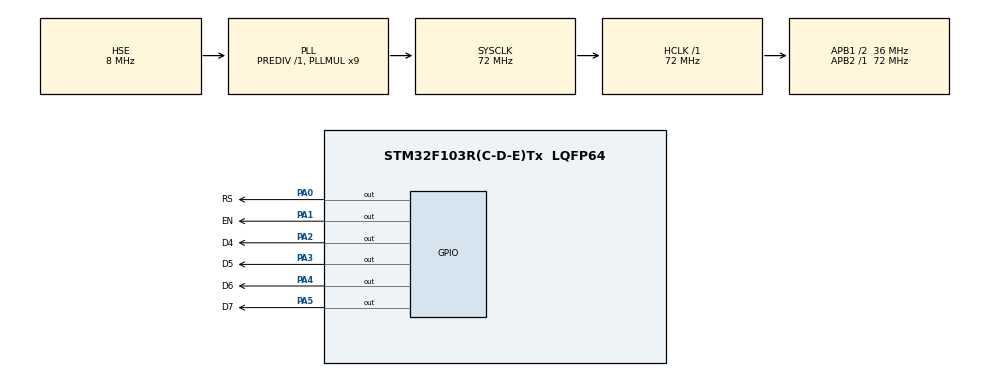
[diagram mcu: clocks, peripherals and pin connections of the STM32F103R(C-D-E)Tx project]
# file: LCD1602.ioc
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Mcu.Family=STM32F1
Mcu.Name=STM32F103R(C-D-E)Tx
Mcu.Package=LQFP64
NVIC.PriorityGroup=NVIC_PRIORITYGROUP_4
PA0-WKUP.GPIO_Label=RS
PA0-WKUP.GPIO_ModeDefaultOutputPP=GPIO_MODE_OUTPUT_PP
PA0-WKUP.GPIO_Speed=GPIO_SPEED_FREQ_MEDIUM
PA0-WKUP.PinState=GPIO_PIN_SET
PA0-WKUP.Signal=GPIO_Output
PA1.GPIO_Label=EN
PA1.GPIO_ModeDefaultOutputPP=GPIO_MODE_OUTPUT_PP
PA1.GPIO_Speed=GPIO_SPEED_FREQ_MEDIUM
PA1.PinState=GPIO_PIN_SET
PA1.Signal=GPIO_Output
PA13.Mode=Serial_Wire
PA13.Signal=SYS_JTMS-SWDIO
PA14.Mode=Serial_Wire
PA14.Signal=SYS_JTCK-SWCLK
PA2.GPIO_Label=D4
PA2.GPIO_ModeDefaultOutputPP=GPIO_MODE_OUTPUT_PP
PA2.GPIO_Speed=GPIO_SPEED_FREQ_MEDIUM
PA2.PinState=GPIO_PIN_SET
PA2.Signal=GPIO_Output
PA3.GPIO_Label=D5
PA3.GPIO_ModeDefaultOutputPP=GPIO_MODE_OUTPUT_PP
PA3.GPIO_Speed=GPIO_SPEED_FREQ_MEDIUM
PA3.PinState=GPIO_PIN_SET
PA3.Signal=GPIO_Output
PA4.GPIO_Label=D6
PA4.GPIO_ModeDefaultOutputPP=GPIO_MODE_OUTPUT_PP
PA4.GPIO_Speed=GPIO_SPEED_FREQ_MEDIUM
PA4.PinState=GPIO_PIN_SET
PA4.Signal=GPIO_Output
PA5.GPIO_Label=D7
PA5.GPIO_ModeDefaultOutputPP=GPIO_MODE_OUTPUT_PP
PA5.GPIO_Speed=GPIO_SPEED_FREQ_MEDIUM
PA5.PinState=GPIO_PIN_SET
PA5.Signal=GPIO_Output
PD0-OSC_IN.Mode=HSE-External-Oscillator
PD0-OSC_IN.Signal=RCC_OSC_IN
PD1-OSC_OUT.Mode=HSE-External-Oscillator
PD1-OSC_OUT.Signal=RCC_OSC_OUT
ProjectManager.HeapSize=0x200
ProjectManager.StackSize=0x400
ProjectManager.TargetToolchain=MDK-ARM V5
RCC.AHBFreq_Value=72000000
RCC.APB1CLKDivider=RCC_HCLK_DIV2
RCC.APB1Freq_Value=36000000
RCC.APB1TimCLKDivider=1
RCC.APB1TimFreq_Value=36000000
RCC.APB2Freq_Value=72000000
RCC.APB2TimFreq_Value=72000000
RCC.HCLKFreq_Value=72000000
RCC.PLLMUL=RCC_PLL_MUL9
RCC.PLLSourceVirtual=RCC_PLLSOURCE_HSE
RCC.SYSCLKFreq_VALUE=72000000
RCC.SYSCLKSource=RCC_SYSCLKSOURCE_PLLCLK
RCC.USBFreq_Value=72000000
board=LCD1602

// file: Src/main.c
/* USER CODE BEGIN Header */
/**
  ******************************************************************************
  * @file           : main.c
  * @brief          : Main program body
  ******************************************************************************
  * @attention
  *
  * <h2><center>&copy; Copyright (c) 2020 STMicroelectronics.
  * All rights reserved.</center></h2>
  *
  * This software component is licensed by ST under BSD 3-Clause license,
  * the "License"; You may not use this file except in compliance with the
  * License. You may obtain a copy of the License at:
  *                        opensource.org/licenses/BSD-3-Clause
  *
  ******************************************************************************
  */
/* USER CODE END Header */

#include "main.h"

/* USER CODE BEGIN Includes */
#define GPIO_PIN_SET 1
#define GPIO_PIN_RESET 0
#define RS_Port GPIOA
#define EN_Port GPIOA
#define D4_Port GPIOA
#define D5_Port GPIOA
#define D6_Port GPIOA
#define D7_Port GPIOA

//RS:A0
//EN:A1
//D4:A2
//D5:A3
//D6:A4
//D7:A5
/* USER CODE END Includes */

/* USER CODE BEGIN PV */
/* Private variables ---------------------------------------------------------*/

/* USER CODE END PV */

void SystemClock_Config(void);
static void MX_GPIO_Init(void);
/* USER CODE BEGIN PFP */
/* Private function prototypes -----------------------------------------------*/

/* USER CODE END PFP */

/* USER CODE BEGIN 0 */

void LCD_Enable()
{
HAL_GPIO_WritePin(GPIOA,EN_Pin,1);
HAL_Delay(1);
HAL_GPIO_WritePin(GPIOA,EN_Pin,0);
HAL_Delay(1);
}

void LCD_Send4Bit(unsigned char Data)
{
HAL_GPIO_WritePin(GPIOA,D4_Pin,Data&0x01);
HAL_GPIO_WritePin(GPIOA,D5_Pin,(Data>>1)&0x01);
HAL_GPIO_WritePin(GPIOA,D6_Pin,(Data>>2)&0x01);
HAL_GPIO_WritePin(GPIOA,D7_Pin,(Data>>3)&0x01);
}

void LCD_SendCommand(unsigned char command)
{
	LCD_Send4Bit(command >>4);/* Gui 4 bit cao */
	LCD_Enable();
	LCD_Send4Bit(command);	/* Gui 4 bit thap*/
	LCD_Enable();
}
void LCD_Clear()
{
 	LCD_SendCommand(0x01);
  HAL_Delay(1);
}

void LCD_Init()
{
	LCD_Send4Bit(0x00);
  HAL_GPIO_WritePin(GPIOA,RS_Pin,0);
	LCD_Send4Bit(0x03);
	LCD_Enable();
	LCD_Enable();
	LCD_Enable();
	LCD_Send4Bit(0x02);
	LCD_Enable();
	LCD_SendCommand(0x28); // giao thuc 4 bit, hien thi 2 hang, ki tu 5x8
	LCD_SendCommand(0x0C); // cho phep hien thi man hinh
	LCD_SendCommand(0x06); // tang ID, khong dich khung hinh
	LCD_SendCommand(0x01); // xoa toan bo khung hinh
}

void LCD_Gotoxy(unsigned char x, unsigned char y)
{
	unsigned char address;
  	if(!y)address=(0x80+x);
  	else address=(0xC0+x);
  	LCD_SendCommand(address);

}

void LCD_PutChar(unsigned char Data)
{
  HAL_GPIO_WritePin(GPIOA,RS_Pin,1);
 	LCD_SendCommand(Data);
  HAL_GPIO_WritePin(GPIOA,RS_Pin,0);
}

void LCD_Puts(char *s)
{
   	while (*s){
      	LCD_PutChar(*s);
     	s++;
   	}
}
/* USER CODE END 0 */

int main(void)
{

  /* MCU Configuration--------------------------------------------------------*/

  /* Reset of all peripherals, Initializes the Flash interface and the Systick. */
  HAL_Init();

  /* Configure the system clock */
  SystemClock_Config();

  /* Initialize all configured peripherals */
  MX_GPIO_Init();

  /* Infinite loop */
  /* USER CODE BEGIN WHILE */
	LCD_Init();
  while (1)
  {
    /* USER CODE END WHILE */

    /* USER CODE BEGIN 3 */
		LCD_Gotoxy(0,0);
		LCD_Puts("Test");
 }

  /* USER CODE END 3 */
}

void SystemClock_Config(void)
{
  RCC_OscInitTypeDef RCC_OscInitStruct = {0};
  RCC_ClkInitTypeDef RCC_ClkInitStruct = {0};

  /** Initializes the CPU, AHB and APB busses clocks
  */
  RCC_OscInitStruct.OscillatorType = RCC_OSCILLATORTYPE_HSE;
  RCC_OscInitStruct.HSEState = RCC_HSE_ON;
  RCC_OscInitStruct.HSEPredivValue = RCC_HSE_PREDIV_DIV1;
  RCC_OscInitStruct.HSIState = RCC_HSI_ON;
  RCC_OscInitStruct.PLL.PLLState = RCC_PLL_ON;
  RCC_OscInitStruct.PLL.PLLSource = RCC_PLLSOURCE_HSE;
  RCC_OscInitStruct.PLL.PLLMUL = RCC_PLL_MUL9;
  if (HAL_RCC_OscConfig(&RCC_OscInitStruct) != HAL_OK)
  {
    Error_Handler();
  }
  /** Initializes the CPU, AHB and APB busses clocks
  */
  RCC_ClkInitStruct.ClockType = RCC_CLOCKTYPE_HCLK|RCC_CLOCKTYPE_SYSCLK
                              |RCC_CLOCKTYPE_PCLK1|RCC_CLOCKTYPE_PCLK2;
  RCC_ClkInitStruct.SYSCLKSource = RCC_SYSCLKSOURCE_PLLCLK;
  RCC_ClkInitStruct.AHBCLKDivider = RCC_SYSCLK_DIV1;
  RCC_ClkInitStruct.APB1CLKDivider = RCC_HCLK_DIV2;
  RCC_ClkInitStruct.APB2CLKDivider = RCC_HCLK_DIV1;

  if (HAL_RCC_ClockConfig(&RCC_ClkInitStruct, FLASH_LATENCY_2) != HAL_OK)
  {
    Error_Handler();
  }
}

static void MX_GPIO_Init(void)
{
  GPIO_InitTypeDef GPIO_InitStruct = {0};

  /* GPIO Ports Clock Enable */
  __HAL_RCC_GPIOD_CLK_ENABLE();
  __HAL_RCC_GPIOA_CLK_ENABLE();

  /*Configure GPIO pin Output Level */
  HAL_GPIO_WritePin(GPIOA, RS_Pin|EN_Pin|D4_Pin|D5_Pin
                          |D6_Pin|D7_Pin, GPIO_PIN_SET);

  /*Configure GPIO pins : RS_Pin EN_Pin D4_Pin D5_Pin
                           D6_Pin D7_Pin */
  GPIO_InitStruct.Pin = RS_Pin|EN_Pin|D4_Pin|D5_Pin
                          |D6_Pin|D7_Pin;
  GPIO_InitStruct.Mode = GPIO_MODE_OUTPUT_PP;
  GPIO_InitStruct.Pull = GPIO_NOPULL;
  GPIO_InitStruct.Speed = GPIO_SPEED_FREQ_MEDIUM;
  HAL_GPIO_Init(GPIOA, &GPIO_InitStruct);

}

void Error_Handler(void)
{
}

/************************ (C) COPYRIGHT STMicroelectronics *****END OF FILE****/
